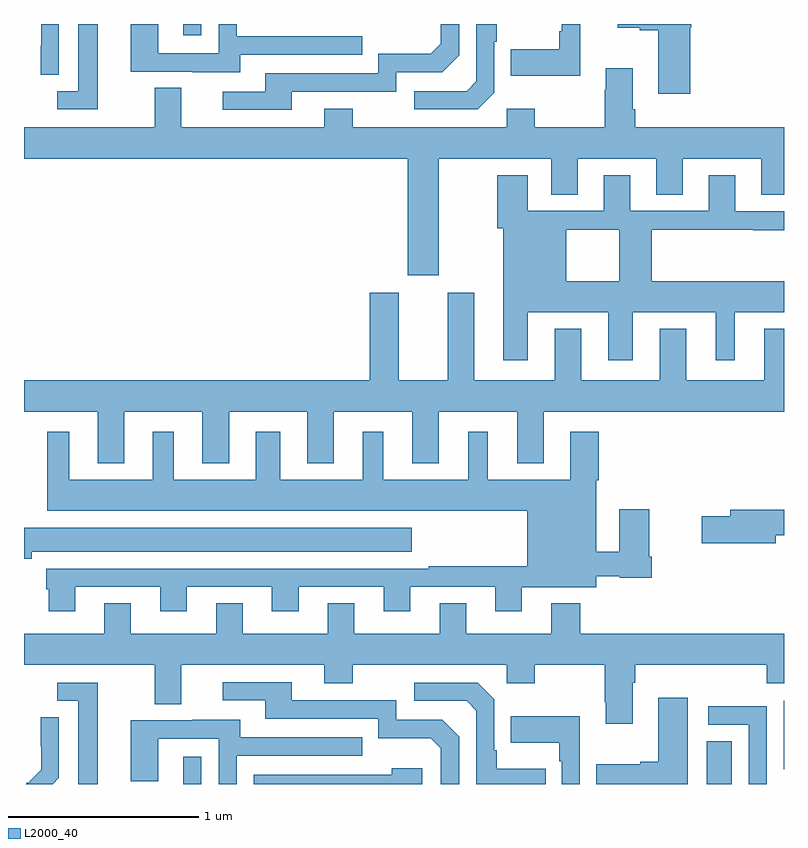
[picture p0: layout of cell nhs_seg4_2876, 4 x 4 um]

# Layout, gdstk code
import gdstk
lib = gdstk.Library(unit=1e-6, precision=1e-09)
def R(c, l, rs):  # rectangles x0, y0, x1, y1
    for r in rs: c.add(gdstk.rectangle(r[:2], r[2:], *l))
def P(c, l, *ps):  # polygons
    for p in ps: c.add(gdstk.Polygon(p, *l))
L2000_40 = (2000, 40)

nhs_seg4_2876 = lib.new_cell('nhs_seg4_2876')
R(nhs_seg4_2876, L2000_40, [(263.837,754.9,263.934,755.044), (266.594,754.9,266.725,755.126), (266.999,754.977,267,755.338), (263.837,758.841,263.934,758.9)])
P(nhs_seg4_2876, L2000_40, [(265.476,758.538),(265.476,758.807),(265.489,758.807),(265.489,758.9),(265.38,758.9),(265.38,758.598),(265.329,758.547),(265.053,758.547),(265.053,758.451),(265.389,758.451)],
  [(264.139,758.739),(264.779,758.739),(264.779,758.835),(264.12,758.835),(264.12,758.9),(264.024,758.9),(264.024,758.745),(263.706,758.745),(263.706,758.9),(263.561,758.9),(263.561,758.649),(263.885,758.649),(263.885,758.645),(264.139,758.645)],
  [(265.928,758.9),(265.83,758.9),(265.83,758.863),(265.818,758.863),(265.818,758.767),(265.561,758.767),(265.561,758.627),(265.928,758.627)],
  [(266.507,758.883),(266.512,758.883),(266.512,758.9),(266.124,758.9),(266.124,758.879),(266.24,758.879),(266.24,758.867),(266.339,758.867),(266.339,758.532),(266.507,758.532)],
  [(263.389,758.9),(263.285,758.9),(263.285,758.547),(263.175,758.547),(263.175,758.451),(263.389,758.451)],
  [(264.409,758.544),(264.96,758.544),(264.96,758.646),(265.2,758.646),(265.29,758.736),(265.29,758.9),(265.194,758.9),(265.194,758.796),(265.141,758.743),(264.864,758.743),(264.864,758.64),(264.269,758.64),(264.269,758.544),(264.045,758.544),(264.045,758.448),(264.409,758.448)],
  [(263.184,758.9),(263.09,758.9),(263.09,758.786),(263.088,758.786),(263.088,758.632),(263.184,758.632)],
  [(264.729,758.455),(264.581,758.455),(264.581,758.356),(263.827,758.356),(263.827,758.564),(263.687,758.564),(263.687,758.356),(263,758.356),(263,758.192),(265.019,758.192),(265.019,757.578),(265.183,757.578),(265.183,758.192),(265.775,758.192),(265.775,758.002),(265.915,758.002),(265.915,758.192),(266.327,758.192),(266.327,758.002),(266.467,758.002),(266.467,758.192),(266.879,758.192),(266.879,758.002),(267,758.002),(267,758.356),(266.216,758.356),(266.216,758.452),(266.203,758.452),(266.203,758.668),(266.063,758.668),(266.063,758.555),(266.056,758.555),(266.056,758.356),(265.689,758.356),(265.689,758.455),(265.542,758.455),(265.542,758.356),(264.729,758.356)],
  [(265.651,757.131),(265.651,757.382),(266.075,757.382),(266.075,757.131),(266.203,757.131),(266.203,757.382),(266.642,757.382),(266.642,757.131),(266.74,757.131),(266.74,757.382),(267,757.382),(267,757.546),(266.303,757.546),(266.303,757.816),(266.839,757.816),(266.839,757.814),(267,757.814),(267,757.914),(266.743,757.914),(266.743,758.104),(266.603,758.104),(266.603,757.917),(266.191,757.917),(266.191,758.104),(266.051,758.104),(266.051,757.917),(265.651,757.917),(265.651,758.104),(265.492,758.104),(265.492,757.824),(265.523,757.824),(265.523,757.546),(265.855,757.546),(265.855,757.816),(266.132,757.816),(266.132,757.546),(265.855,757.546),(265.523,757.546),(265.523,757.131)],
  [(267,757.297),(266.897,757.297),(266.897,757.024),(266.485,757.024),(266.485,757.297),(266.345,757.297),(266.345,757.024),(265.933,757.024),(265.933,757.297),(265.793,757.297),(265.793,757.024),(265.369,757.024),(265.369,757.486),(265.229,757.486),(265.229,757.024),(264.973,757.024),(264.973,757.486),(264.821,757.486),(264.821,757.024),(263,757.024),(263,756.86),(263.387,756.86),(263.387,756.587),(263.527,756.587),(263.527,756.86),(263.939,756.86),(263.939,756.587),(264.079,756.587),(264.079,756.86),(264.491,756.86),(264.491,756.587),(264.631,756.587),(264.631,756.86),(265.043,756.86),(265.043,756.587),(265.183,756.587),(265.183,756.86),(265.595,756.86),(265.595,756.587),(265.735,756.587),(265.735,756.86),(267,756.86)],
  [(263.269,755.937),(263.717,755.937),(263.717,755.808),(263.857,755.808),(263.857,755.937),(264.305,755.937),(264.305,755.808),(264.445,755.808),(264.445,755.937),(264.893,755.937),(264.893,755.808),(265.033,755.808),(265.033,755.937),(265.481,755.937),(265.481,755.808),(265.621,755.808),(265.621,755.936),(266.011,755.936),(266.011,755.994),(266.136,755.994),(266.136,755.986),(266.303,755.986),(266.303,756.097),(266.29,756.097),(266.29,756.346),(266.132,756.346),(266.132,756.122),(266.011,756.122),(266.011,756.498),(266.024,756.498),(266.024,756.754),(265.874,756.754),(265.874,756.502),(265.441,756.502),(265.441,756.754),(265.337,756.754),(265.337,756.502),(264.892,756.502),(264.892,756.754),(264.782,756.754),(264.782,756.502),(264.349,756.502),(264.349,756.754),(264.221,756.754),(264.221,756.502),(263.788,756.502),(263.788,756.754),(263.678,756.754),(263.678,756.502),(263.239,756.502),(263.239,756.754),(263.123,756.754),(263.123,756.338),(265.649,756.338),(265.649,756.046),(265.129,756.046),(265.129,756.033),(263.117,756.033),(263.117,755.925),(263.129,755.925),(263.129,755.808),(263.269,755.808)],
  [(266.956,756.208),(267,756.208),(267,756.344),(266.717,756.344),(266.717,756.308),(266.568,756.308),(266.568,756.166),(266.956,756.166)],
  [(263.041,756.122),(265.042,756.122),(265.042,756.25),(263,756.25),(263,756.086),(263.041,756.086)],
  [(266.203,755.432),(266.216,755.432),(266.216,755.528),(266.909,755.528),(266.909,755.429),(267,755.429),(267,755.692),(265.928,755.692),(265.928,755.851),(265.775,755.851),(265.775,755.692),(265.327,755.692),(265.327,755.852),(265.187,755.852),(265.187,755.692),(264.739,755.692),(264.739,755.852),(264.599,755.852),(264.599,755.692),(264.151,755.692),(264.151,755.852),(264.011,755.852),(264.011,755.692),(263.563,755.692),(263.563,755.852),(263.423,755.852),(263.423,755.692),(263,755.692),(263,755.528),(263.687,755.528),(263.687,755.32),(263.827,755.32),(263.827,755.528),(264.581,755.528),(264.581,755.429),(264.729,755.429),(264.729,755.528),(265.542,755.528),(265.542,755.429),(265.689,755.429),(265.689,755.528),(266.056,755.528),(266.056,755.329),(266.063,755.329),(266.063,755.217),(266.203,755.217)],
  [(265.29,755.148),(265.2,755.238),(264.96,755.238),(264.96,755.34),(264.409,755.34),(264.409,755.436),(264.045,755.436),(264.045,755.34),(264.269,755.34),(264.269,755.244),(264.864,755.244),(264.864,755.141),(265.141,755.141),(265.194,755.088),(265.194,754.9),(265.29,754.9)],
  [(263.389,755.433),(263.175,755.433),(263.175,755.337),(263.285,755.337),(263.285,754.9),(263.389,754.9)],
  [(265.745,754.981),(265.489,754.981),(265.489,755.077),(265.476,755.077),(265.476,755.346),(265.389,755.433),(265.053,755.433),(265.053,755.337),(265.329,755.337),(265.38,755.286),(265.38,754.9),(265.745,754.9)],
  [(266.494,755.353),(266.339,755.353),(266.339,755.018),(266.243,755.018),(266.243,755.005),(266.013,755.005),(266.013,754.9),(266.494,754.9)],
  [(266.91,755.31),(266.601,755.31),(266.601,755.211),(266.814,755.211),(266.814,754.9),(266.91,754.9)],
  [(265.926,755.257),(265.561,755.257),(265.561,755.117),(265.818,755.117),(265.818,755.021),(265.83,755.021),(265.83,754.9),(265.926,754.9)],
  [(263.184,754.934),(263.184,755.252),(263.088,755.252),(263.088,755.098),(263.09,755.098),(263.09,754.976),(263.019,754.905),(263.016,754.908),(263.008,754.9),(263.15,754.9)],
  [(264.12,755.049),(264.779,755.049),(264.779,755.145),(264.139,755.145),(264.139,755.239),(263.885,755.239),(263.885,755.235),(263.561,755.235),(263.561,754.915),(263.706,754.915),(263.706,755.139),(264.024,755.139),(264.024,754.9),(264.12,754.9)],
  [(265.096,754.984),(264.935,754.984),(264.935,754.95),(264.21,754.95),(264.21,754.9),(265.096,754.9)])

lib.write_gds('nhs_seg4_2876.gds')
